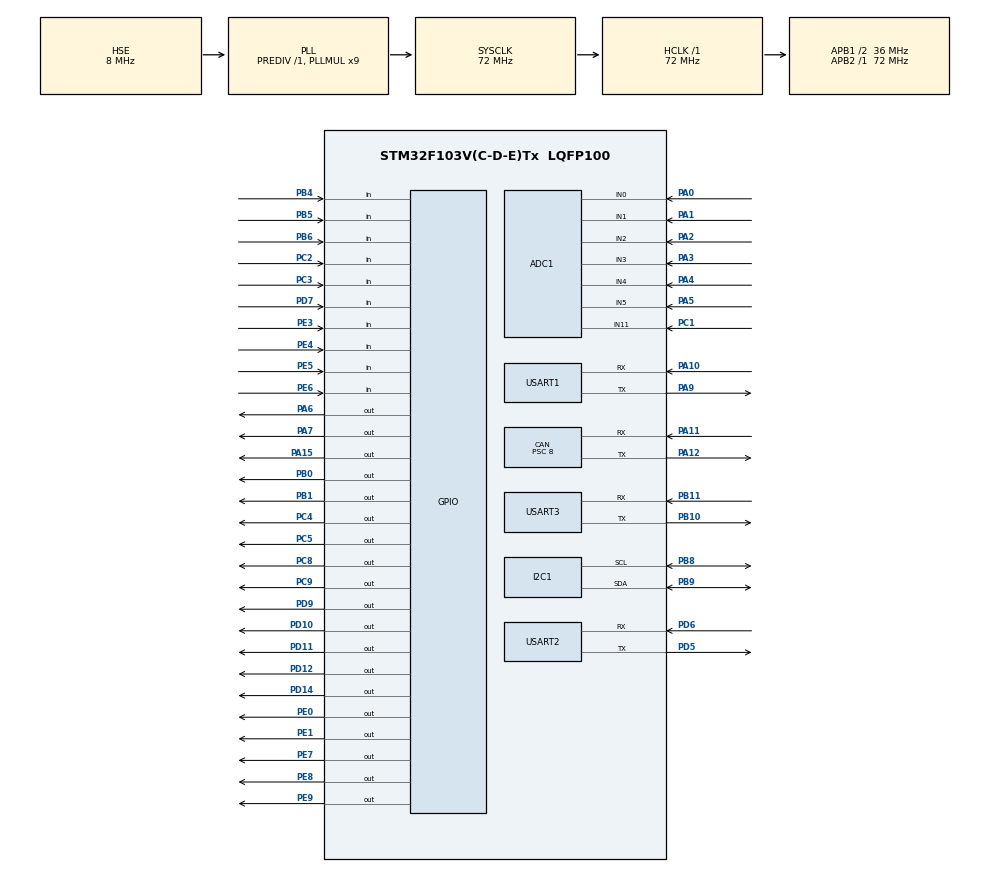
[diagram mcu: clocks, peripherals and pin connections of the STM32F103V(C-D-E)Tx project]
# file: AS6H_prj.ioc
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ADC1.Channel-0\#ChannelRegularConversion=ADC_CHANNEL_0
ADC1.Channel-1\#ChannelRegularConversion=ADC_CHANNEL_1
ADC1.Channel-2\#ChannelRegularConversion=ADC_CHANNEL_2
ADC1.Channel-3\#ChannelRegularConversion=ADC_CHANNEL_3
ADC1.Channel-4\#ChannelRegularConversion=ADC_CHANNEL_4
ADC1.Channel-5\#ChannelRegularConversion=ADC_CHANNEL_5
ADC1.Channel-6\#ChannelRegularConversion=ADC_CHANNEL_11
ADC1.DiscontinuousConvMode=DISABLE
ADC1.NbrOfConversion=7
ADC1.NbrOfConversionFlag=1
ADC1.Rank-0\#ChannelRegularConversion=1
ADC1.Rank-1\#ChannelRegularConversion=2
ADC1.Rank-2\#ChannelRegularConversion=3
ADC1.Rank-3\#ChannelRegularConversion=4
ADC1.Rank-4\#ChannelRegularConversion=5
ADC1.Rank-5\#ChannelRegularConversion=6
ADC1.Rank-6\#ChannelRegularConversion=7
ADC1.SamplingTime-0\#ChannelRegularConversion=ADC_SAMPLETIME_13CYCLES_5
ADC1.SamplingTime-1\#ChannelRegularConversion=ADC_SAMPLETIME_13CYCLES_5
ADC1.SamplingTime-2\#ChannelRegularConversion=ADC_SAMPLETIME_13CYCLES_5
ADC1.SamplingTime-3\#ChannelRegularConversion=ADC_SAMPLETIME_13CYCLES_5
ADC1.SamplingTime-4\#ChannelRegularConversion=ADC_SAMPLETIME_13CYCLES_5
ADC1.SamplingTime-5\#ChannelRegularConversion=ADC_SAMPLETIME_13CYCLES_5
ADC1.SamplingTime-6\#ChannelRegularConversion=ADC_SAMPLETIME_13CYCLES_5
ADC1.master=1
CAN.ABOM=ENABLE
CAN.BS1=CAN_BS1_3TQ
CAN.BS2=CAN_BS2_5TQ
CAN.CalculateBaudRate=500000
CAN.CalculateTimeBit=2000
CAN.CalculateTimeQuantum=222.22222222222223
CAN.NART=ENABLE
CAN.Prescaler=8
Dma.ADC1.0.Direction=DMA_PERIPH_TO_MEMORY
Dma.ADC1.0.Instance=DMA1_Channel1
Dma.ADC1.0.MemDataAlignment=DMA_MDATAALIGN_WORD
Dma.ADC1.0.MemInc=DMA_MINC_ENABLE
Dma.ADC1.0.Mode=DMA_CIRCULAR
Dma.ADC1.0.PeriphDataAlignment=DMA_PDATAALIGN_WORD
Dma.ADC1.0.PeriphInc=DMA_PINC_DISABLE
Dma.ADC1.0.Priority=DMA_PRIORITY_LOW
Dma.Request0=ADC1
Mcu.Family=STM32F1
Mcu.Name=STM32F103V(C-D-E)Tx
Mcu.Package=LQFP100
NVIC.ADC1_2_IRQn=true\:5\:0\:true\:false\:true\:true\:true\:true
NVIC.CAN1_RX1_IRQn=true\:5\:0\:true\:false\:true\:true\:true\:true
NVIC.CAN1_SCE_IRQn=true\:5\:0\:true\:false\:true\:true\:true\:true
NVIC.DMA1_Channel1_IRQn=true\:0\:0\:false\:false\:true\:false\:true\:true
NVIC.PriorityGroup=NVIC_PRIORITYGROUP_4
NVIC.TIM3_IRQn=true\:3\:0\:true\:false\:true\:true\:true\:true
NVIC.USART1_IRQn=true\:6\:0\:true\:false\:true\:true\:true\:true
NVIC.USART2_IRQn=true\:6\:0\:true\:false\:true\:true\:true\:true
NVIC.USART3_IRQn=true\:6\:0\:true\:false\:true\:true\:true\:true
NVIC.USB_HP_CAN1_TX_IRQn=true\:15\:0\:true\:false\:true\:true\:true\:true
NVIC.USB_LP_CAN1_RX0_IRQn=true\:15\:0\:true\:false\:true\:true\:true\:true
OSC_IN.Mode=HSE-External-Oscillator
OSC_IN.Signal=RCC_OSC_IN
OSC_OUT.Mode=HSE-External-Oscillator
OSC_OUT.Signal=RCC_OSC_OUT
PA0-WKUP.Signal=ADCx_IN0
PA1.Signal=ADCx_IN1
PA10.Mode=Asynchronous
PA10.Signal=USART1_RX
PA11.Mode=CAN_Activate
PA11.Signal=CAN_RX
PA12.Mode=CAN_Activate
PA12.Signal=CAN_TX
PA13.Mode=Serial_Wire
PA13.Signal=SYS_JTMS-SWDIO
PA14.Mode=Serial_Wire
PA14.Signal=SYS_JTCK-SWCLK
PA15.Signal=GPIO_Output
PA2.Signal=ADCx_IN2
PA3.Signal=ADCx_IN3
PA4.Signal=ADCx_IN4
PA5.Signal=ADCx_IN5
PA6.Signal=GPIO_Output
PA7.Signal=GPIO_Output
PA9.Mode=Asynchronous
PA9.Signal=USART1_TX
PB0.Signal=GPIO_Output
PB1.Signal=GPIO_Output
PB10.Mode=Asynchronous
PB10.Signal=USART3_TX
PB11.Mode=Asynchronous
PB11.Signal=USART3_RX
PB4.Signal=GPIO_Input
PB5.Signal=GPIO_Input
PB6.Signal=GPIO_Input
PB8.Mode=I2C
PB8.Signal=I2C1_SCL
PB9.Mode=I2C
PB9.Signal=I2C1_SDA
PC1.Signal=ADCx_IN11
PC2.Signal=GPIO_Input
PC3.Signal=GPIO_Input
PC4.Signal=GPIO_Output
PC5.Signal=GPIO_Output
PC8.Signal=GPIO_Output
PC9.Signal=GPIO_Output
PD10.Signal=GPIO_Output
PD11.Signal=GPIO_Output
PD12.Signal=GPIO_Output
PD14.Signal=GPIO_Output
PD5.Mode=Asynchronous
PD5.Signal=USART2_TX
PD6.Mode=Asynchronous
PD6.Signal=USART2_RX
PD7.Signal=GPIO_Input
PD9.Signal=GPIO_Output
PE0.Signal=GPIO_Output
PE1.Signal=GPIO_Output
PE3.Signal=GPIO_Input
PE4.Signal=GPIO_Input
PE5.Signal=GPIO_Input
PE6.Signal=GPIO_Input
PE7.Signal=GPIO_Output
PE8.Signal=GPIO_Output
PE9.Signal=GPIO_Output
ProjectManager.HeapSize=0x200
ProjectManager.StackSize=0x400
ProjectManager.TargetToolchain=EWARM V8.32
RCC.ADCPresc=RCC_ADCPCLK2_DIV6
RCC.AHBFreq_Value=72000000
RCC.APB1CLKDivider=RCC_HCLK_DIV2
RCC.APB1Freq_Value=36000000
RCC.APB1TimFreq_Value=72000000
RCC.APB2Freq_Value=72000000
RCC.APB2TimFreq_Value=72000000
RCC.HCLKFreq_Value=72000000
RCC.PLLMUL=RCC_PLL_MUL9
RCC.PLLSourceVirtual=RCC_PLLSOURCE_HSE
RCC.SYSCLKFreq_VALUE=72000000
RCC.SYSCLKSource=RCC_SYSCLKSOURCE_PLLCLK
RCC.USBFreq_Value=72000000
SH.ADCx_IN0.0=ADC1_IN0,IN0
SH.ADCx_IN1.0=ADC1_IN1,IN1
SH.ADCx_IN11.0=ADC1_IN11,IN11
SH.ADCx_IN2.0=ADC1_IN2,IN2
SH.ADCx_IN3.0=ADC1_IN3,IN3
SH.ADCx_IN4.0=ADC1_IN4,IN4
SH.ADCx_IN5.0=ADC1_IN5,IN5
TIM3.Period=1000-1
TIM3.Prescaler=72-1
USART1.VirtualMode=VM_ASYNC
USART2.VirtualMode=VM_ASYNC
USART3.VirtualMode=VM_ASYNC
VP_TIM3_VS_ClockSourceINT.Mode=Internal
board=custom

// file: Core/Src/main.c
/* USER CODE BEGIN Header */
/**
  ******************************************************************************
  * @file           : main.c
  * @brief          : Main program body
  ******************************************************************************
  * @attention
  *
  * Copyright (c) 2024 STMicroelectronics.
  * All rights reserved.
  *
  * This software is licensed under terms that can be found in the LICENSE file
  * in the root directory of this software component.
  * If no LICENSE file comes with this software, it is provided AS-IS.
  *
  ******************************************************************************
  */
/* USER CODE END Header */
#include "main.h"
#include "adc.h"
#include "can.h"
#include "dma.h"
#include "i2c.h"
#include "tim.h"
#include "usart.h"
#include "gpio.h"
#include "task.h"

/* USER CODE BEGIN Includes */
#include "keyscan.h"
#include "bsp_can.h"
#include "motor.h"
#include "adc.h"
#include "bsp_adc.h"
/* USER CODE END Includes */

/* USER CODE BEGIN PTD */
uint8_t temp = 0;
/* USER CODE END PTD */

void SystemClock_Config(void);

int main(void)
{

  /* MCU Configuration--------------------------------------------------------*/

  /* Reset of all peripherals, Initializes the Flash interface and the Systick. */
  HAL_Init();

  /* Configure the system clock */
  SystemClock_Config();

  /* Initialize all configured peripherals */
  MX_GPIO_Init();
  MX_DMA_Init();
  MX_CAN_Init();
  MX_USART3_UART_Init();
  MX_I2C1_Init();
  MX_TIM3_Init();
  MX_USART1_UART_Init();
  MX_USART2_UART_Init();
  MX_ADC1_Init();
  bsp_can_init();

  /* USER CODE BEGIN 2 */
  HAL_TIM_Base_Start_IT (&htim3); // 1ms
  #if 0
  for(temp = 0; temp < 10; temp++)
  {
  	can1_Trans8b(CAN_DRV);
	  can1_Trans8b(CAN_STR);
  	HAL_Delay(30);
  }
  #endif

  /* USER CODE END 2 */
  //bsp_adc_init();
  /* Infinite loop */
  while (1)
  {
    /* USER CODE BEGIN 3 */
    Timer_Event();
    User_Interface();
    Motor_Control();
  }
  /* USER CODE END 3 */
}

void SystemClock_Config(void)
{
  RCC_OscInitTypeDef RCC_OscInitStruct = {0};
  RCC_ClkInitTypeDef RCC_ClkInitStruct = {0};
  RCC_PeriphCLKInitTypeDef PeriphClkInit = {0};

  /** Initializes the RCC Oscillators according to the specified parameters
  * in the RCC_OscInitTypeDef structure.
  */
  RCC_OscInitStruct.OscillatorType = RCC_OSCILLATORTYPE_HSE;
  RCC_OscInitStruct.HSEState = RCC_HSE_ON;
  RCC_OscInitStruct.HSEPredivValue = RCC_HSE_PREDIV_DIV1;
  RCC_OscInitStruct.HSIState = RCC_HSI_ON;
  RCC_OscInitStruct.PLL.PLLState = RCC_PLL_ON;
  RCC_OscInitStruct.PLL.PLLSource = RCC_PLLSOURCE_HSE;
  RCC_OscInitStruct.PLL.PLLMUL = RCC_PLL_MUL9;
  if (HAL_RCC_OscConfig(&RCC_OscInitStruct) != HAL_OK)
  {
    Error_Handler();
  }

  /** Initializes the CPU, AHB and APB buses clocks
  */
  RCC_ClkInitStruct.ClockType = RCC_CLOCKTYPE_HCLK|RCC_CLOCKTYPE_SYSCLK
                              |RCC_CLOCKTYPE_PCLK1|RCC_CLOCKTYPE_PCLK2;
  RCC_ClkInitStruct.SYSCLKSource = RCC_SYSCLKSOURCE_PLLCLK;
  RCC_ClkInitStruct.AHBCLKDivider = RCC_SYSCLK_DIV1;
  RCC_ClkInitStruct.APB1CLKDivider = RCC_HCLK_DIV2;
  RCC_ClkInitStruct.APB2CLKDivider = RCC_HCLK_DIV1;

  if (HAL_RCC_ClockConfig(&RCC_ClkInitStruct, FLASH_LATENCY_2) != HAL_OK)
  {
    Error_Handler();
  }
  PeriphClkInit.PeriphClockSelection = RCC_PERIPHCLK_ADC;
  PeriphClkInit.AdcClockSelection = RCC_ADCPCLK2_DIV6;
  if (HAL_RCCEx_PeriphCLKConfig(&PeriphClkInit) != HAL_OK)
  {
    Error_Handler();
  }
}

void Error_Handler(void)
{
  __disable_irq();
  while (1)
  {
  }
}
